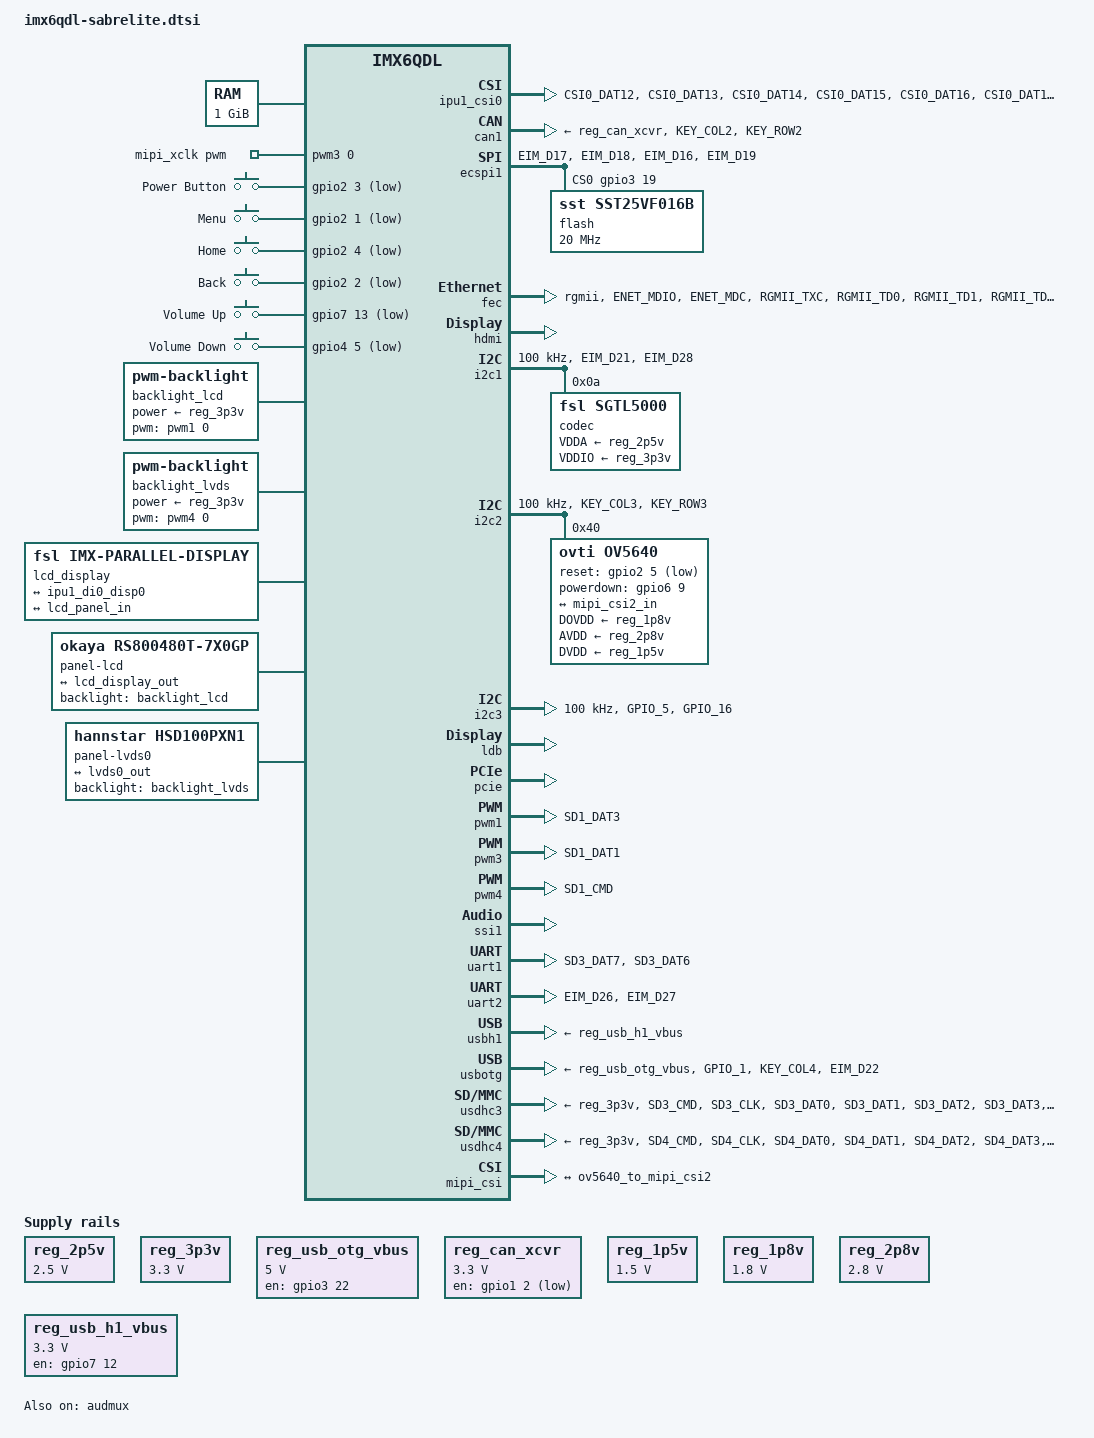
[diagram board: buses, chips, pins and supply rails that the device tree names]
/*
 * Copyright 2011 Freescale Semiconductor, Inc.
 * Copyright 2011 Linaro Ltd.
 *
 * This file is dual-licensed: you can use it either under the terms
 * of the GPL or the X11 license, at your option. Note that this dual
 * licensing only applies to this file, and not this project as a
 * whole.
 *
 *  a) This file is free software; you can redistribute it and/or
 *     modify it under the terms of the GNU General Public License
 *     version 2 as published by the Free Software Foundation.
 *
 *     This file is distributed in the hope that it will be useful,
 *     but WITHOUT ANY WARRANTY; without even the implied warranty of
 *     MERCHANTABILITY or FITNESS FOR A PARTICULAR PURPOSE.  See the
 *     GNU General Public License for more details.
 *
 * Or, alternatively,
 *
 *  b) Permission is hereby granted, free of charge, to any person
 *     obtaining a copy of this software and associated documentation
 *     files (the "Software"), to deal in the Software without
 *     restriction, including without limitation the rights to use,
 *     copy, modify, merge, publish, distribute, sublicense, and/or
 *     sell copies of the Software, and to permit persons to whom the
 *     Software is furnished to do so, subject to the following
 *     conditions:
 *
 *     The above copyright notice and this permission notice shall be
 *     included in all copies or substantial portions of the Software.
 *
 *     THE SOFTWARE IS PROVIDED "AS IS", WITHOUT WARRANTY OF ANY KIND,
 *     EXPRESS OR IMPLIED, INCLUDING BUT NOT LIMITED TO THE WARRANTIES
 *     OF MERCHANTABILITY, FITNESS FOR A PARTICULAR PURPOSE AND
 *     NONINFRINGEMENT. IN NO EVENT SHALL THE AUTHORS OR COPYRIGHT
 *     HOLDERS BE LIABLE FOR ANY CLAIM, DAMAGES OR OTHER LIABILITY,
 *     WHETHER IN AN ACTION OF CONTRACT, TORT OR OTHERWISE, ARISING
 *     FROM, OUT OF OR IN CONNECTION WITH THE SOFTWARE OR THE USE OR
 *     OTHER DEALINGS IN THE SOFTWARE.
 */

#include <dt-bindings/clock/imx6qdl-clock.h>
#include <dt-bindings/gpio/gpio.h>
#include <dt-bindings/input/input.h>

/ {
	chosen {
		stdout-path = &uart2;
	};

	memory@10000000 {
		device_type = "memory";
		reg = <0x10000000 0x40000000>;
	};

	regulators {
		compatible = "simple-bus";
		#address-cells = <1>;
		#size-cells = <0>;

		reg_2p5v: regulator@0 {
			compatible = "regulator-fixed";
			reg = <0>;
			regulator-name = "2P5V";
			regulator-min-microvolt = <2500000>;
			regulator-max-microvolt = <2500000>;
			regulator-always-on;
		};

		reg_3p3v: regulator@1 {
			compatible = "regulator-fixed";
			reg = <1>;
			regulator-name = "3P3V";
			regulator-min-microvolt = <3300000>;
			regulator-max-microvolt = <3300000>;
			regulator-always-on;
		};

		reg_usb_otg_vbus: regulator@2 {
			compatible = "regulator-fixed";
			reg = <2>;
			regulator-name = "usb_otg_vbus";
			regulator-min-microvolt = <5000000>;
			regulator-max-microvolt = <5000000>;
			gpio = <&gpio3 22 0>;
			enable-active-high;
		};

		reg_can_xcvr: regulator@3 {
			compatible = "regulator-fixed";
			reg = <3>;
			regulator-name = "CAN XCVR";
			regulator-min-microvolt = <3300000>;
			regulator-max-microvolt = <3300000>;
			pinctrl-names = "default";
			pinctrl-0 = <&pinctrl_can_xcvr>;
			gpio = <&gpio1 2 GPIO_ACTIVE_LOW>;
		};

		reg_1p5v: regulator@4 {
			compatible = "regulator-fixed";
			reg = <4>;
			regulator-name = "1P5V";
			regulator-min-microvolt = <1500000>;
			regulator-max-microvolt = <1500000>;
			regulator-always-on;
		};

		reg_1p8v: regulator@5 {
			compatible = "regulator-fixed";
			reg = <5>;
			regulator-name = "1P8V";
			regulator-min-microvolt = <1800000>;
			regulator-max-microvolt = <1800000>;
			regulator-always-on;
		};

		reg_2p8v: regulator@6 {
			compatible = "regulator-fixed";
			reg = <6>;
			regulator-name = "2P8V";
			regulator-min-microvolt = <2800000>;
			regulator-max-microvolt = <2800000>;
			regulator-always-on;
		};

		reg_usb_h1_vbus: regulator@7 {
			compatible = "regulator-fixed";
			reg = <7>;
			pinctrl-names = "default";
			pinctrl-0 = <&pinctrl_usbh1>;
			regulator-name = "usb_h1_vbus";
			regulator-min-microvolt = <3300000>;
			regulator-max-microvolt = <3300000>;
			gpio = <&gpio7 12 GPIO_ACTIVE_HIGH>;
			enable-active-high;
		};
	};

	mipi_xclk: mipi_xclk {
		compatible = "pwm-clock";
		#clock-cells = <0>;
		clock-frequency = <22000000>;
		clock-output-names = "mipi_pwm3";
		pwms = <&pwm3 0 45>; /* 1 / 45 ns = 22 MHz */
		status = "okay";
	};

	gpio-keys {
		compatible = "gpio-keys";
		pinctrl-names = "default";
		pinctrl-0 = <&pinctrl_gpio_keys>;

		power {
			label = "Power Button";
			gpios = <&gpio2 3 GPIO_ACTIVE_LOW>;
			linux,code = <KEY_POWER>;
			wakeup-source;
		};

		menu {
			label = "Menu";
			gpios = <&gpio2 1 GPIO_ACTIVE_LOW>;
			linux,code = <KEY_MENU>;
		};

		home {
			label = "Home";
			gpios = <&gpio2 4 GPIO_ACTIVE_LOW>;
			linux,code = <KEY_HOME>;
		};

		back {
			label = "Back";
			gpios = <&gpio2 2 GPIO_ACTIVE_LOW>;
			linux,code = <KEY_BACK>;
		};

		volume-up {
			label = "Volume Up";
			gpios = <&gpio7 13 GPIO_ACTIVE_LOW>;
			linux,code = <KEY_VOLUMEUP>;
		};

		volume-down {
			label = "Volume Down";
			gpios = <&gpio4 5 GPIO_ACTIVE_LOW>;
			linux,code = <KEY_VOLUMEDOWN>;
		};
	};

	sound {
		compatible = "fsl,imx6q-sabrelite-sgtl5000",
			     "fsl,imx-audio-sgtl5000";
		model = "imx6q-sabrelite-sgtl5000";
		ssi-controller = <&ssi1>;
		audio-codec = <&codec>;
		audio-routing =
			"MIC_IN", "Mic Jack",
			"Mic Jack", "Mic Bias",
			"Headphone Jack", "HP_OUT";
		mux-int-port = <1>;
		mux-ext-port = <4>;
	};

	backlight_lcd: backlight-lcd {
		compatible = "pwm-backlight";
		pwms = <&pwm1 0 5000000>;
		brightness-levels = <0 4 8 16 32 64 128 255>;
		default-brightness-level = <7>;
		power-supply = <&reg_3p3v>;
		status = "okay";
	};

	backlight_lvds: backlight-lvds {
		compatible = "pwm-backlight";
		pwms = <&pwm4 0 5000000>;
		brightness-levels = <0 4 8 16 32 64 128 255>;
		default-brightness-level = <7>;
		power-supply = <&reg_3p3v>;
		status = "okay";
	};

	lcd_display: disp0 {
		compatible = "fsl,imx-parallel-display";
		#address-cells = <1>;
		#size-cells = <0>;
		interface-pix-fmt = "bgr666";
		pinctrl-names = "default";
		pinctrl-0 = <&pinctrl_j15>;
		status = "okay";

		port@0 {
			reg = <0>;

			lcd_display_in: endpoint {
				remote-endpoint = <&ipu1_di0_disp0>;
			};
		};

		port@1 {
			reg = <1>;

			lcd_display_out: endpoint {
				remote-endpoint = <&lcd_panel_in>;
			};
		};
	};

	panel-lcd {
		compatible = "okaya,rs800480t-7x0gp";
		backlight = <&backlight_lcd>;

		port {
			lcd_panel_in: endpoint {
				remote-endpoint = <&lcd_display_out>;
			};
		};
	};

	panel-lvds0 {
		compatible = "hannstar,hsd100pxn1";
		backlight = <&backlight_lvds>;

		port {
			panel_in: endpoint {
				remote-endpoint = <&lvds0_out>;
			};
		};
	};
};

&ipu1_csi0_from_ipu1_csi0_mux {
	bus-width = <8>;
	data-shift = <12>; /* Lines 19:12 used */
	hsync-active = <1>;
	vync-active = <1>;
};

&ipu1_csi0_mux_from_parallel_sensor {
	remote-endpoint = <&ov5642_to_ipu1_csi0_mux>;
};

&ipu1_csi0 {
	pinctrl-names = "default";
	pinctrl-0 = <&pinctrl_ipu1_csi0>;
};

&audmux {
	pinctrl-names = "default";
	pinctrl-0 = <&pinctrl_audmux>;
	status = "okay";
};

&can1 {
	pinctrl-names = "default";
	pinctrl-0 = <&pinctrl_can1>;
	xceiver-supply = <&reg_can_xcvr>;
	status = "okay";
};

&clks {
	assigned-clocks = <&clks IMX6QDL_CLK_LDB_DI0_SEL>,
			  <&clks IMX6QDL_CLK_LDB_DI1_SEL>;
	assigned-clock-parents = <&clks IMX6QDL_CLK_PLL3_USB_OTG>,
				 <&clks IMX6QDL_CLK_PLL3_USB_OTG>;
};

&ecspi1 {
	cs-gpios = <&gpio3 19 0>;
	pinctrl-names = "default";
	pinctrl-0 = <&pinctrl_ecspi1>;
	status = "okay";

	flash: m25p80@0 {
		compatible = "sst,sst25vf016b", "jedec,spi-nor";
		spi-max-frequency = <20000000>;
		reg = <0>;
	};
};

&fec {
	pinctrl-names = "default";
	pinctrl-0 = <&pinctrl_enet>;
	phy-mode = "rgmii";
	phy-reset-gpios = <&gpio3 23 GPIO_ACTIVE_LOW>;
	txen-skew-ps = <0>;
	txc-skew-ps = <3000>;
	rxdv-skew-ps = <0>;
	rxc-skew-ps = <3000>;
	rxd0-skew-ps = <0>;
	rxd1-skew-ps = <0>;
	rxd2-skew-ps = <0>;
	rxd3-skew-ps = <0>;
	txd0-skew-ps = <0>;
	txd1-skew-ps = <0>;
	txd2-skew-ps = <0>;
	txd3-skew-ps = <0>;
	status = "okay";
};

&hdmi {
	ddc-i2c-bus = <&i2c2>;
	status = "okay";
};

&i2c1 {
	clock-frequency = <100000>;
	pinctrl-names = "default";
	pinctrl-0 = <&pinctrl_i2c1>;
	status = "okay";

	codec: sgtl5000@a {
		compatible = "fsl,sgtl5000";
		reg = <0x0a>;
		clocks = <&clks IMX6QDL_CLK_CKO>;
		VDDA-supply = <&reg_2p5v>;
		VDDIO-supply = <&reg_3p3v>;
	};
};

&i2c2 {
	clock-frequency = <100000>;
	pinctrl-names = "default";
	pinctrl-0 = <&pinctrl_i2c2>;
	status = "okay";

	ov5640: camera@40 {
		compatible = "ovti,ov5640";
		pinctrl-names = "default";
		pinctrl-0 = <&pinctrl_ov5640>;
		reg = <0x40>;
		clocks = <&mipi_xclk>;
		clock-names = "xclk";
		DOVDD-supply = <&reg_1p8v>;
		AVDD-supply = <&reg_2p8v>;
		DVDD-supply = <&reg_1p5v>;
		reset-gpios = <&gpio2 5 GPIO_ACTIVE_LOW>; /* NANDF_D5 */
		powerdown-gpios = <&gpio6 9 GPIO_ACTIVE_HIGH>; /* NANDF_WP_B */

		port {
			ov5640_to_mipi_csi2: endpoint {
				remote-endpoint = <&mipi_csi2_in>;
				clock-lanes = <0>;
				data-lanes = <1 2>;
			};
		};
	};

	ov5642: camera@42 {
		compatible = "ovti,ov5642";
		pinctrl-names = "default";
		pinctrl-0 = <&pinctrl_ov5642>;
		clocks = <&clks IMX6QDL_CLK_CKO2>;
		clock-names = "xclk";
		reg = <0x42>;
		reset-gpios = <&gpio1 8 GPIO_ACTIVE_LOW>;
		powerdown-gpios = <&gpio1 6 GPIO_ACTIVE_HIGH>;
		gp-gpios = <&gpio1 16 GPIO_ACTIVE_HIGH>;
		status = "disabled";

		port {
			ov5642_to_ipu1_csi0_mux: endpoint {
				remote-endpoint = <&ipu1_csi0_mux_from_parallel_sensor>;
				bus-width = <8>;
				hsync-active = <1>;
				vsync-active = <1>;
			};
		};
	};
};

&i2c3 {
	clock-frequency = <100000>;
	pinctrl-names = "default";
	pinctrl-0 = <&pinctrl_i2c3>;
	status = "okay";
};

&iomuxc {
	pinctrl-names = "default";
	pinctrl-0 = <&pinctrl_hog>;

	imx6q-sabrelite {
		pinctrl_hog: hoggrp {
			fsl,pins = <
				/* SGTL5000 sys_mclk */
				MX6QDL_PAD_GPIO_0__CCM_CLKO1    0x030b0
			>;
		};

		pinctrl_audmux: audmuxgrp {
			fsl,pins = <
				MX6QDL_PAD_SD2_DAT0__AUD4_RXD		0x130b0
				MX6QDL_PAD_SD2_DAT3__AUD4_TXC		0x130b0
				MX6QDL_PAD_SD2_DAT2__AUD4_TXD		0x110b0
				MX6QDL_PAD_SD2_DAT1__AUD4_TXFS		0x130b0
			>;
		};

		pinctrl_can1: can1grp {
			fsl,pins = <
				MX6QDL_PAD_KEY_COL2__FLEXCAN1_TX	0x1b0b0
				MX6QDL_PAD_KEY_ROW2__FLEXCAN1_RX	0x1b0b0
			>;
		};

		pinctrl_can_xcvr: can-xcvrgrp {
			fsl,pins = <
				/* Flexcan XCVR enable */
				MX6QDL_PAD_GPIO_2__GPIO1_IO02		0x1b0b0
			>;
		};

		pinctrl_ecspi1: ecspi1grp {
			fsl,pins = <
				MX6QDL_PAD_EIM_D17__ECSPI1_MISO		0x100b1
				MX6QDL_PAD_EIM_D18__ECSPI1_MOSI		0x100b1
				MX6QDL_PAD_EIM_D16__ECSPI1_SCLK		0x100b1
				MX6QDL_PAD_EIM_D19__GPIO3_IO19  0x000b1	/* CS */
			>;
		};

		pinctrl_enet: enetgrp {
			fsl,pins = <
				MX6QDL_PAD_ENET_MDIO__ENET_MDIO		0x100b0
				MX6QDL_PAD_ENET_MDC__ENET_MDC		0x100b0
				MX6QDL_PAD_RGMII_TXC__RGMII_TXC		0x10030
				MX6QDL_PAD_RGMII_TD0__RGMII_TD0		0x10030
				MX6QDL_PAD_RGMII_TD1__RGMII_TD1		0x10030
				MX6QDL_PAD_RGMII_TD2__RGMII_TD2		0x10030
				MX6QDL_PAD_RGMII_TD3__RGMII_TD3		0x10030
				MX6QDL_PAD_RGMII_TX_CTL__RGMII_TX_CTL	0x10030
				MX6QDL_PAD_ENET_REF_CLK__ENET_TX_CLK	0x100b0
				MX6QDL_PAD_RGMII_RXC__RGMII_RXC		0x1b030
				MX6QDL_PAD_RGMII_RD0__RGMII_RD0		0x1b030
				MX6QDL_PAD_RGMII_RD1__RGMII_RD1		0x1b030
				MX6QDL_PAD_RGMII_RD2__RGMII_RD2		0x1b030
				MX6QDL_PAD_RGMII_RD3__RGMII_RD3		0x1b030
				MX6QDL_PAD_RGMII_RX_CTL__RGMII_RX_CTL	0x1b030
				/* Phy reset */
				MX6QDL_PAD_EIM_D23__GPIO3_IO23		0x000b0
			>;
		};

		pinctrl_gpio_keys: gpio-keysgrp {
			fsl,pins = <
				/* Power Button */
				MX6QDL_PAD_NANDF_D3__GPIO2_IO03		0x1b0b0
				/* Menu Button */
				MX6QDL_PAD_NANDF_D1__GPIO2_IO01		0x1b0b0
				/* Home Button */
				MX6QDL_PAD_NANDF_D4__GPIO2_IO04		0x1b0b0
				/* Back Button */
				MX6QDL_PAD_NANDF_D2__GPIO2_IO02		0x1b0b0
				/* Volume Up Button */
				MX6QDL_PAD_GPIO_18__GPIO7_IO13		0x1b0b0
				/* Volume Down Button */
				MX6QDL_PAD_GPIO_19__GPIO4_IO05		0x1b0b0
			>;
		};

		pinctrl_i2c1: i2c1grp {
			fsl,pins = <
				MX6QDL_PAD_EIM_D21__I2C1_SCL		0x4001b8b1
				MX6QDL_PAD_EIM_D28__I2C1_SDA		0x4001b8b1
			>;
		};

		pinctrl_i2c2: i2c2grp {
			fsl,pins = <
				MX6QDL_PAD_KEY_COL3__I2C2_SCL		0x4001b8b1
				MX6QDL_PAD_KEY_ROW3__I2C2_SDA		0x4001b8b1
			>;
		};

		pinctrl_i2c3: i2c3grp {
			fsl,pins = <
				MX6QDL_PAD_GPIO_5__I2C3_SCL		0x4001b8b1
				MX6QDL_PAD_GPIO_16__I2C3_SDA		0x4001b8b1
			>;
		};

		pinctrl_ipu1_csi0: ipu1csi0grp {
			fsl,pins = <
				MX6QDL_PAD_CSI0_DAT12__IPU1_CSI0_DATA12    0x1b0b0
				MX6QDL_PAD_CSI0_DAT13__IPU1_CSI0_DATA13    0x1b0b0
				MX6QDL_PAD_CSI0_DAT14__IPU1_CSI0_DATA14    0x1b0b0
				MX6QDL_PAD_CSI0_DAT15__IPU1_CSI0_DATA15    0x1b0b0
				MX6QDL_PAD_CSI0_DAT16__IPU1_CSI0_DATA16    0x1b0b0
				MX6QDL_PAD_CSI0_DAT17__IPU1_CSI0_DATA17    0x1b0b0
				MX6QDL_PAD_CSI0_DAT18__IPU1_CSI0_DATA18    0x1b0b0
				MX6QDL_PAD_CSI0_DAT19__IPU1_CSI0_DATA19    0x1b0b0
				MX6QDL_PAD_CSI0_PIXCLK__IPU1_CSI0_PIXCLK   0x1b0b0
				MX6QDL_PAD_CSI0_MCLK__IPU1_CSI0_HSYNC      0x1b0b0
				MX6QDL_PAD_CSI0_VSYNC__IPU1_CSI0_VSYNC     0x1b0b0
				MX6QDL_PAD_CSI0_DATA_EN__IPU1_CSI0_DATA_EN 0x1b0b0
			>;
		};

		pinctrl_j15: j15grp {
			fsl,pins = <
				MX6QDL_PAD_DI0_DISP_CLK__IPU1_DI0_DISP_CLK 0x10
				MX6QDL_PAD_DI0_PIN15__IPU1_DI0_PIN15       0x10
				MX6QDL_PAD_DI0_PIN2__IPU1_DI0_PIN02        0x10
				MX6QDL_PAD_DI0_PIN3__IPU1_DI0_PIN03        0x10
				MX6QDL_PAD_DISP0_DAT0__IPU1_DISP0_DATA00   0x10
				MX6QDL_PAD_DISP0_DAT1__IPU1_DISP0_DATA01   0x10
				MX6QDL_PAD_DISP0_DAT2__IPU1_DISP0_DATA02   0x10
				MX6QDL_PAD_DISP0_DAT3__IPU1_DISP0_DATA03   0x10
				MX6QDL_PAD_DISP0_DAT4__IPU1_DISP0_DATA04   0x10
				MX6QDL_PAD_DISP0_DAT5__IPU1_DISP0_DATA05   0x10
				MX6QDL_PAD_DISP0_DAT6__IPU1_DISP0_DATA06   0x10
				MX6QDL_PAD_DISP0_DAT7__IPU1_DISP0_DATA07   0x10
				MX6QDL_PAD_DISP0_DAT8__IPU1_DISP0_DATA08   0x10
				MX6QDL_PAD_DISP0_DAT9__IPU1_DISP0_DATA09   0x10
				MX6QDL_PAD_DISP0_DAT10__IPU1_DISP0_DATA10  0x10
				MX6QDL_PAD_DISP0_DAT11__IPU1_DISP0_DATA11  0x10
				MX6QDL_PAD_DISP0_DAT12__IPU1_DISP0_DATA12  0x10
				MX6QDL_PAD_DISP0_DAT13__IPU1_DISP0_DATA13  0x10
				MX6QDL_PAD_DISP0_DAT14__IPU1_DISP0_DATA14  0x10
				MX6QDL_PAD_DISP0_DAT15__IPU1_DISP0_DATA15  0x10
				MX6QDL_PAD_DISP0_DAT16__IPU1_DISP0_DATA16  0x10
				MX6QDL_PAD_DISP0_DAT17__IPU1_DISP0_DATA17  0x10
				MX6QDL_PAD_DISP0_DAT18__IPU1_DISP0_DATA18  0x10
				MX6QDL_PAD_DISP0_DAT19__IPU1_DISP0_DATA19  0x10
				MX6QDL_PAD_DISP0_DAT20__IPU1_DISP0_DATA20  0x10
				MX6QDL_PAD_DISP0_DAT21__IPU1_DISP0_DATA21  0x10
				MX6QDL_PAD_DISP0_DAT22__IPU1_DISP0_DATA22  0x10
				MX6QDL_PAD_DISP0_DAT23__IPU1_DISP0_DATA23  0x10
			>;
		};

		pinctrl_ov5640: ov5640grp {
			fsl,pins = <
				MX6QDL_PAD_NANDF_D5__GPIO2_IO05   0x000b0
				MX6QDL_PAD_NANDF_WP_B__GPIO6_IO09 0x0b0b0
			>;
		};

		pinctrl_ov5642: ov5642grp {
			fsl,pins = <
				MX6QDL_PAD_SD1_DAT0__GPIO1_IO16 0x1b0b0
				MX6QDL_PAD_GPIO_6__GPIO1_IO06   0x1b0b0
				MX6QDL_PAD_GPIO_8__GPIO1_IO08   0x130b0
				MX6QDL_PAD_GPIO_3__CCM_CLKO2    0x000b0
			>;
		};

		pinctrl_pwm1: pwm1grp {
			fsl,pins = <
				MX6QDL_PAD_SD1_DAT3__PWM1_OUT 0x1b0b1
			>;
		};

		pinctrl_pwm3: pwm3grp {
			fsl,pins = <
				MX6QDL_PAD_SD1_DAT1__PWM3_OUT 0x1b0b1
			>;
		};

		pinctrl_pwm4: pwm4grp {
			fsl,pins = <
				MX6QDL_PAD_SD1_CMD__PWM4_OUT 0x1b0b1
			>;
		};

		pinctrl_uart1: uart1grp {
			fsl,pins = <
				MX6QDL_PAD_SD3_DAT7__UART1_TX_DATA	0x1b0b1
				MX6QDL_PAD_SD3_DAT6__UART1_RX_DATA	0x1b0b1
			>;
		};

		pinctrl_uart2: uart2grp {
			fsl,pins = <
				MX6QDL_PAD_EIM_D26__UART2_TX_DATA	0x1b0b1
				MX6QDL_PAD_EIM_D27__UART2_RX_DATA	0x1b0b1
			>;
		};

		pinctrl_usbh1: usbh1grp {
			fsl,pins = <
				MX6QDL_PAD_GPIO_17__GPIO7_IO12		0x030b0
			>;
		};

		pinctrl_usbotg: usbotggrp {
			fsl,pins = <
				MX6QDL_PAD_GPIO_1__USB_OTG_ID		0x17059
				MX6QDL_PAD_KEY_COL4__USB_OTG_OC	0x1b0b0
				/* power enable, high active */
				MX6QDL_PAD_EIM_D22__GPIO3_IO22  0x000b0
			>;
		};

		pinctrl_usdhc3: usdhc3grp {
			fsl,pins = <
				MX6QDL_PAD_SD3_CMD__SD3_CMD		0x17059
				MX6QDL_PAD_SD3_CLK__SD3_CLK		0x10059
				MX6QDL_PAD_SD3_DAT0__SD3_DATA0		0x17059
				MX6QDL_PAD_SD3_DAT1__SD3_DATA1		0x17059
				MX6QDL_PAD_SD3_DAT2__SD3_DATA2		0x17059
				MX6QDL_PAD_SD3_DAT3__SD3_DATA3		0x17059
				MX6QDL_PAD_SD3_DAT5__GPIO7_IO00 0x1b0b0	/* CD */
				MX6QDL_PAD_SD3_DAT4__GPIO7_IO01 0x1f0b0	/* WP */
			>;
		};

		pinctrl_usdhc4: usdhc4grp {
			fsl,pins = <
				MX6QDL_PAD_SD4_CMD__SD4_CMD		0x17059
				MX6QDL_PAD_SD4_CLK__SD4_CLK		0x10059
				MX6QDL_PAD_SD4_DAT0__SD4_DATA0		0x17059
				MX6QDL_PAD_SD4_DAT1__SD4_DATA1		0x17059
				MX6QDL_PAD_SD4_DAT2__SD4_DATA2		0x17059
				MX6QDL_PAD_SD4_DAT3__SD4_DATA3		0x17059
				MX6QDL_PAD_NANDF_D6__GPIO2_IO06 0x1b0b0	/* CD */
			>;
		};
	};
};

&ipu1_di0_disp0 {
	remote-endpoint = <&lcd_display_in>;
};

&ldb {
	status = "okay";

	lvds-channel@0 {
		status = "okay";

		port@4 {
			reg = <4>;

			lvds0_out: endpoint {
				remote-endpoint = <&panel_in>;
			};
		};
	};
};

&pcie {
	status = "okay";
};

&pwm1 {
	#pwm-cells = <2>;
	pinctrl-names = "default";
	pinctrl-0 = <&pinctrl_pwm1>;
	status = "okay";
};

&pwm3 {
	#pwm-cells = <2>;
	pinctrl-names = "default";
	pinctrl-0 = <&pinctrl_pwm3>;
	status = "okay";
};

&pwm4 {
	#pwm-cells = <2>;
	pinctrl-names = "default";
	pinctrl-0 = <&pinctrl_pwm4>;
	status = "okay";
};

&ssi1 {
	status = "okay";
};

&uart1 {
	pinctrl-names = "default";
	pinctrl-0 = <&pinctrl_uart1>;
	status = "okay";
};

&uart2 {
	pinctrl-names = "default";
	pinctrl-0 = <&pinctrl_uart2>;
	status = "okay";
};

&usbh1 {
	vbus-supply = <&reg_usb_h1_vbus>;
	status = "okay";
};

&usbotg {
	vbus-supply = <&reg_usb_otg_vbus>;
	pinctrl-names = "default";
	pinctrl-0 = <&pinctrl_usbotg>;
	disable-over-current;
	status = "okay";
};

&usdhc3 {
	pinctrl-names = "default";
	pinctrl-0 = <&pinctrl_usdhc3>;
	cd-gpios = <&gpio7 0 GPIO_ACTIVE_LOW>;
	wp-gpios = <&gpio7 1 GPIO_ACTIVE_HIGH>;
	vmmc-supply = <&reg_3p3v>;
	status = "okay";
};

&usdhc4 {
	pinctrl-names = "default";
	pinctrl-0 = <&pinctrl_usdhc4>;
	cd-gpios = <&gpio2 6 GPIO_ACTIVE_LOW>;
	vmmc-supply = <&reg_3p3v>;
	status = "okay";
};

&mipi_csi {
	status = "okay";

	port@0 {
		reg = <0>;

		mipi_csi2_in: endpoint {
			remote-endpoint = <&ov5640_to_mipi_csi2>;
			clock-lanes = <0>;
			data-lanes = <1 2>;
		};
	};
};
